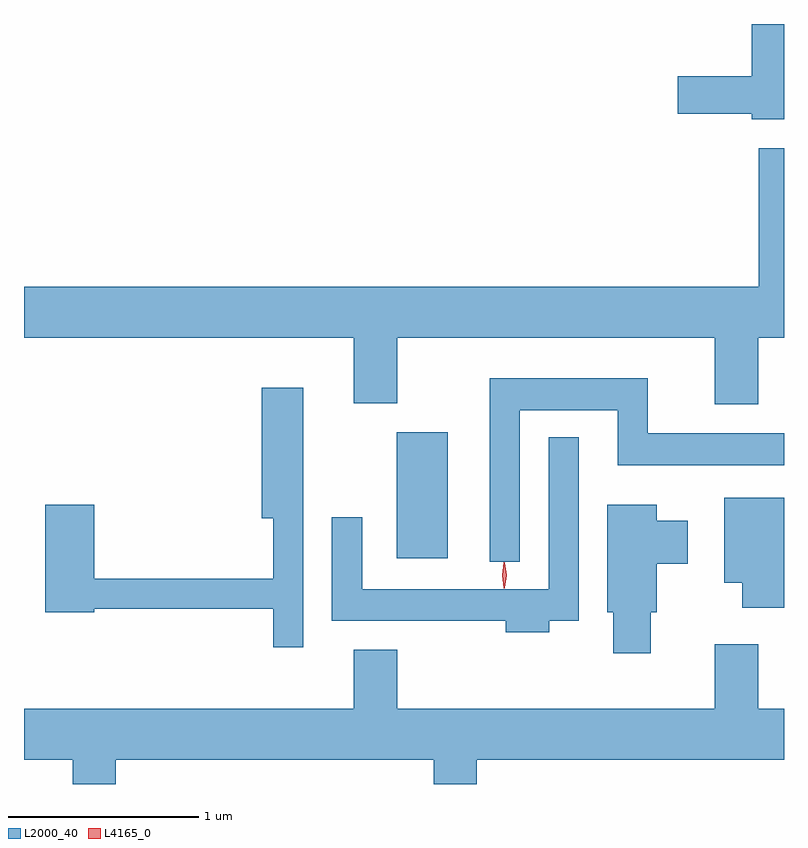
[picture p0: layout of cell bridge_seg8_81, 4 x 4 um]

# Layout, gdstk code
import gdstk
lib = gdstk.Library(unit=1e-6, precision=1e-09)
def R(c, l, rs):  # rectangles x0, y0, x1, y1
    for r in rs: c.add(gdstk.rectangle(r[:2], r[2:], *l))
def P(c, l, *ps):  # polygons
    for p in ps: c.add(gdstk.Polygon(p, *l))
L2000_40 = (2000, 40)
L4165_0 = (4165, 0)

bridge_seg8_81 = lib.new_cell('bridge_seg8_81')
R(bridge_seg8_81, L2000_40, [(1625.336,1815.276,1625.604,1815.939)])
P(bridge_seg8_81, L2000_40, [(1627.375,1818.088),(1627.206,1818.088),(1627.206,1817.814),(1626.816,1817.814),(1626.816,1817.616),(1627.206,1817.616),(1627.206,1817.586),(1627.375,1817.586)],
  [(1627.239,1816.436),(1627.375,1816.436),(1627.375,1817.434),(1627.241,1817.434),(1627.241,1816.704),(1623.375,1816.704),(1623.375,1816.436),(1625.111,1816.436),(1625.111,1816.091),(1625.339,1816.091),(1625.339,1816.436),(1627.011,1816.436),(1627.011,1816.086),(1627.239,1816.086)],
  [(1625.984,1816.056),(1626.501,1816.056),(1626.501,1815.766),(1627.375,1815.766),(1627.375,1815.934),(1626.659,1815.934),(1626.659,1816.224),(1625.826,1816.224),(1625.826,1815.258),(1625.984,1815.258)],
  [(1624.844,1816.174),(1624.626,1816.174),(1624.626,1815.486),(1624.686,1815.486),(1624.686,1815.169),(1623.744,1815.169),(1623.744,1815.559),(1623.486,1815.559),(1623.486,1814.991),(1623.744,1814.991),(1623.744,1815.011),(1624.686,1815.011),(1624.686,1814.808),(1624.844,1814.808)],
  [(1626.139,1814.946),(1626.294,1814.946),(1626.294,1815.913),(1626.136,1815.913),(1626.136,1815.114),(1625.154,1815.114),(1625.154,1815.493),(1624.996,1815.493),(1624.996,1814.946),(1625.911,1814.946),(1625.911,1814.886),(1626.139,1814.886)],
  [(1627.375,1815.594),(1627.061,1815.594),(1627.061,1815.146),(1627.156,1815.146),(1627.156,1815.016),(1627.375,1815.016)],
  [(1626.674,1814.991),(1626.704,1814.991),(1626.704,1815.246),(1626.869,1815.246),(1626.869,1815.474),(1626.704,1815.474),(1626.704,1815.559),(1626.446,1815.559),(1626.446,1814.991),(1626.476,1814.991),(1626.476,1814.776),(1626.674,1814.776)],
  [(1623.859,1814.216),(1625.531,1814.216),(1625.531,1814.088),(1625.759,1814.088),(1625.759,1814.216),(1627.375,1814.216),(1627.375,1814.484),(1627.239,1814.484),(1627.239,1814.824),(1627.011,1814.824),(1627.011,1814.484),(1625.339,1814.484),(1625.339,1814.794),(1625.111,1814.794),(1625.111,1814.484),(1623.375,1814.484),(1623.375,1814.216),(1623.631,1814.216),(1623.631,1814.088),(1623.859,1814.088)])
P(bridge_seg8_81, L4165_0, [(1625.906,1815.119),(1625.905,1815.12),(1625.896,1815.186),(1625.905,1815.252),(1625.905,1815.253),(1625.906,1815.252),(1625.915,1815.186),(1625.906,1815.12)],
  [(1625.901,1815.117),(1625.892,1815.187),(1625.901,1815.256),(1625.902,1815.256),(1625.902,1815.256),(1625.912,1815.187),(1625.902,1815.117),(1625.902,1815.117)])

lib.write_gds('bridge_seg8_81.gds')
